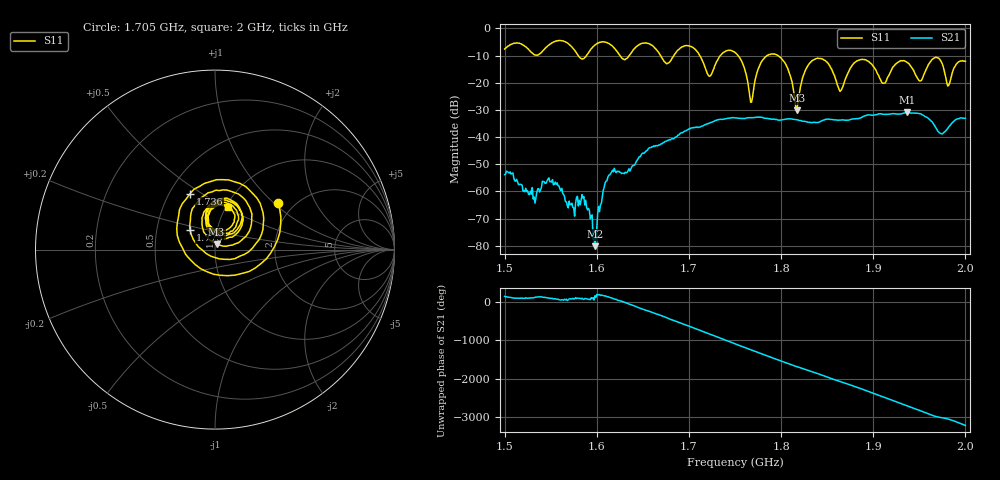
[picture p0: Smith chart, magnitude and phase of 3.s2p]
! NanoVNA-App by SYSJOINT et al v1.1.209 (+OD18)
! Date: 2026-01-21 14:43:04
! Start: 1,5GHz Stop: 2GHz Points: 501
! S-Parameter data: F S11 S21 S12 S22
# Hz S RI R 50
!  Frequency  S11_Real  S11_Imag  S21_Real  S21_Imag  S12_Real  S12_Imag  S22_Real  S22_Imag
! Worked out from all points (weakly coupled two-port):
!   501 points, 1.5 GHz to 2 GHz, reference 50 ohm
!   highest |S21| = -30.96 dB at 1.937 GHz (marker M1); lowest = -80.1 dB at 1.598 GHz (marker M2)
!   lowest |S11| = -30.1 dB at 1.817 GHz (marker M3), VSWR 1.06, Z = 50.8 + j3.05 ohm
!   |S11| at or under -10 dB: 1.712 GHz to 1.734 GHz (22.38 MHz wide, 1.3 % of centre); 1.753 GHz to 1.785 GHz (31.52 MHz wide, 1.78 % of centre); 1.796 GHz to end of sweep (the widest 3 of 6)
!   S12 and S22 are empty: the file has one direction only
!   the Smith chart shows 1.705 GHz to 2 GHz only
!   S11 on the Smith chart (normalised r, x): 1.705 GHz: 1.67, +1.06; 1.736 GHz: 0.63, +0.44; 1.775 GHz: 0.74, +0.16; 2 GHz: 1.02, +0.51
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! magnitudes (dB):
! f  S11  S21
! 1.5 GHz  -7.6  -53.8
! 1.584 GHz  -11.3  -61.2
! 1.598 GHz  -6.1  -80.1
! 1.615 GHz  -6.0  -53.5
! 1.667 GHz  -8.8  -42.9
! 1.705 GHz  -7.2  -36.5
! 1.722 GHz  -17.6  -34.9
! 1.736 GHz  -9.4  -33.5
! 1.75 GHz  -8.9  -32.9
! 1.767 GHz  -27.2  -32.9
! 1.775 GHz  -15.1  -32.7
! 1.799 GHz  -10.7  -33.8
! 1.817 GHz  -30.1  -33.7
! 1.834 GHz  -11.8  -34.7
! 1.864 GHz  -23.2  -33.7
! 1.886 GHz  -11.5  -33.0
! 1.917 GHz  -17.3  -31.6
! 1.937 GHz  -12.6  -31.0
! 1.951 GHz  -19.3  -31.4
! 1.97 GHz  -10.8  -37.8
! 1.982 GHz  -20.9  -36.2
! 2 GHz  -12.2  -33.1
